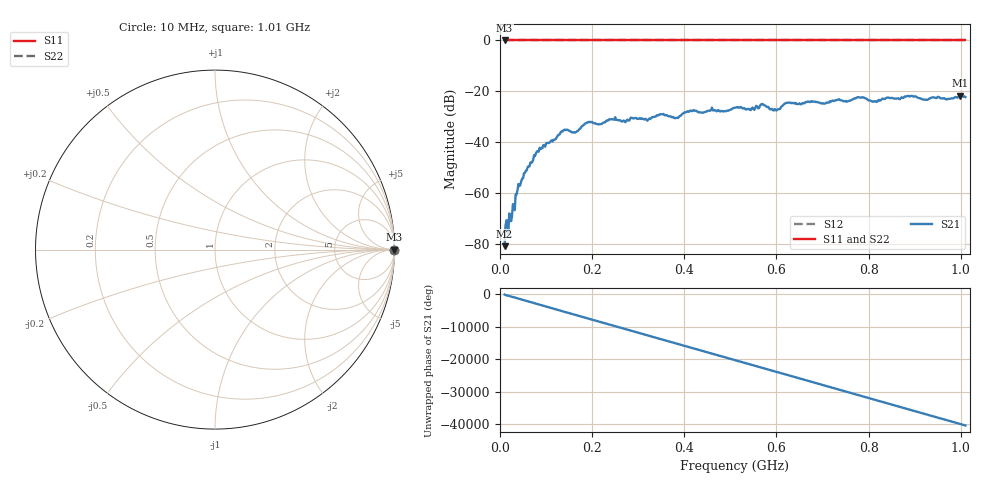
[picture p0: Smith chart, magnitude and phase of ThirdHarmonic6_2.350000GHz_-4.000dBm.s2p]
! 8/17/2025 3:31:59 AM
! C:\ANRITSUVNA\TEMP\TEMP.S2P
! CHANNEL.1
! TR.MEASUREMENT
! RAW.DATA
! RF.CORRECTION.OFF
! AVERAGING.OFF
! IF.BANDWIDTH: 5KHZ
! SWEEPTYPE:  FREQ.SWEEP(Linear)
! Reference Plane Port Info
! PORT:  PORT1  PORT2
! DISTANCE:  0  m  0  m
! TIME:  0  s  0  s
! PHASE.OFFSET:  0  deg.  0  deg.
! LOSS:  0  dB  0  dB
! REF.LOSS:  0  dB  0  dB
! REF.FREQ:  0  Hz  0  Hz
! Power Info
! POWER:  -20  dBm  -20  dBm
! EFF.POWER:  -20  dBm  -20  dBm
! SOURCE.ATTEN:  0  dB  0  dB
! TEST.ATTEN:  0  dB  0  dB
# GHZ S RI R 50.0
! FREQ.GHZ  S11RE  S11IM  S21RE  S21IM  S12RE  S12IM  S22RE  S22IM
!; PortSelection: Port_12
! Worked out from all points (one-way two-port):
!   501 points, 10 MHz to 1.01 GHz, reference 50 ohm
!   highest |S21| = -21.63 dB at 998 MHz (marker M1); lowest = -80.8 dB at 10 MHz (marker M2)
!   lowest |S11| = 0.0 dB at 10 MHz (marker M3)
!   |S11| at or under -10 dB: nowhere
!   |S22| runs from 0.0 to 0.0 dB; largest |S21 - S12| = 1.1
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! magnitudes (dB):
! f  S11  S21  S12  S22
! 10 MHz  0.0  -80.8  0.0  0.0
! 16 MHz  0.0  -70.9  0.0  0.0
! 28 MHz  0.0  -64.3  0.0  0.0
! 38 MHz  0.0  -58.8  0.0  0.0
! 78 MHz  0.0  -44.4  0.0  0.0
! 136 MHz  0.0  -35.7  0.0  0.0
! 162 MHz  0.0  -36.2  0.0  0.0
! 178 MHz  0.0  -33.6  0.0  0.0
! 194 MHz  0.0  -32.1  0.0  0.0
! 322 MHz  0.0  -31.0  0.0  0.0
! 344 MHz  0.0  -29.4  0.0  0.0
! 382 MHz  0.0  -30.4  0.0  0.0
! 416 MHz  0.0  -27.7  0.0  0.0
! 510 MHz  0.0  -26.4  0.0  0.0
! 548 MHz  0.0  -26.4  0.0  0.0
! 570 MHz  0.0  -25.0  0.0  0.0
! 596 MHz  0.0  -27.0  0.0  0.0
! 624 MHz  0.0  -24.5  0.0  0.0
! 678 MHz  0.0  -24.0  0.0  0.0
! 844 MHz  0.0  -22.5  0.0  0.0
! 998 MHz  0.0  -21.6  0.0  0.0
! 1.01 GHz  0.0  -22.2  0.0  0.0
